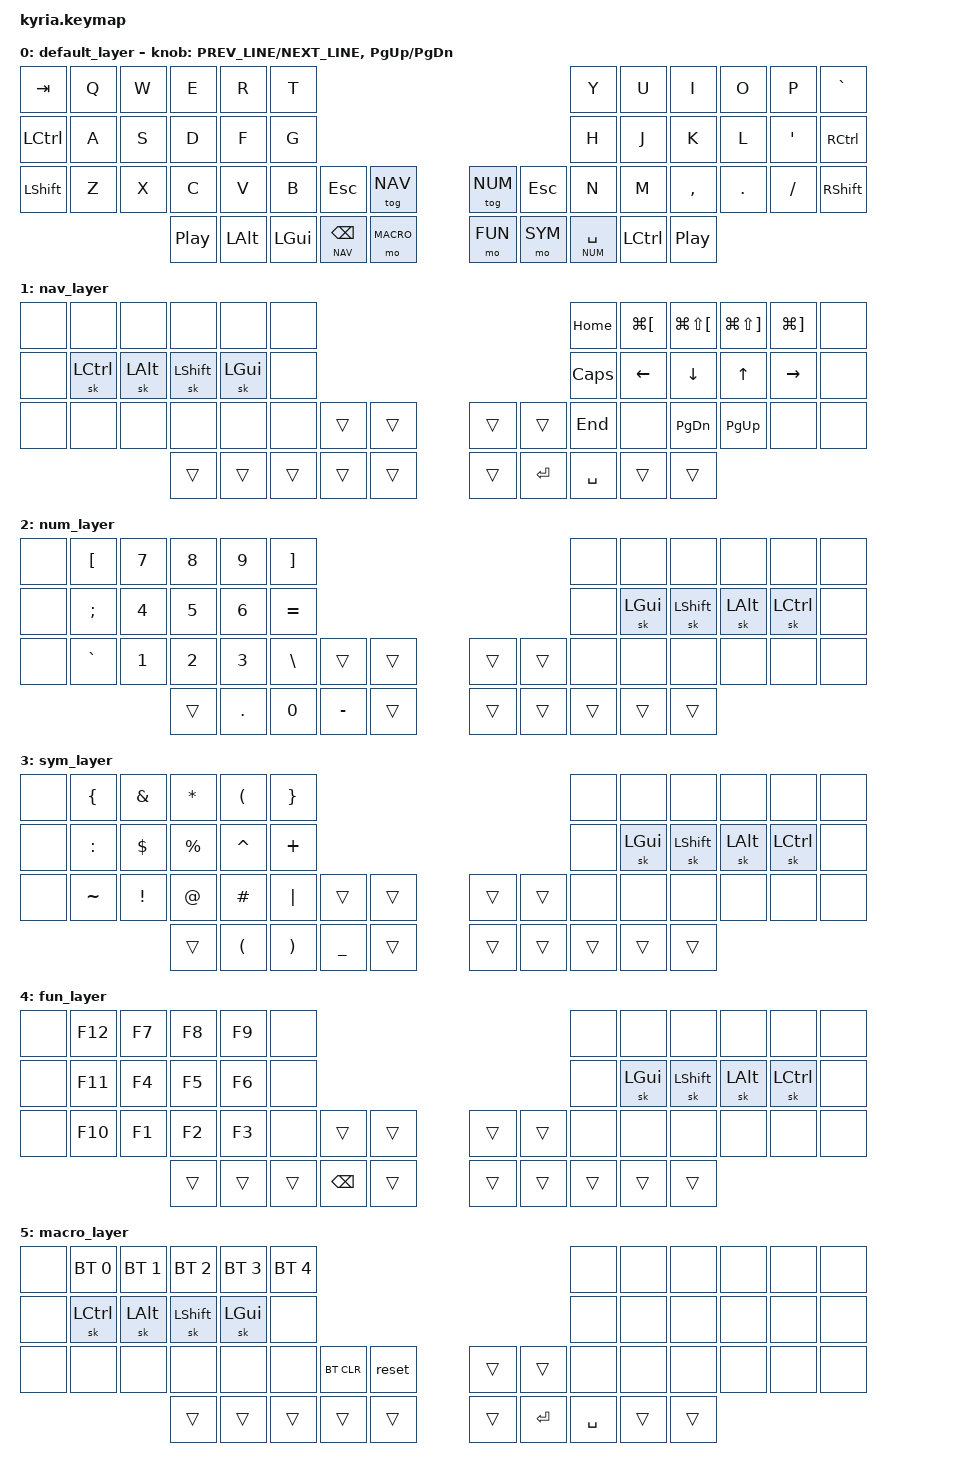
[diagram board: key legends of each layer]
/*
 * Copyright (c) 2020 The ZMK Contributors
 *
 * SPDX-License-Identifier: MIT
 */

#include <behaviors.dtsi>
#include <dt-bindings/zmk/bt.h>
#include <dt-bindings/zmk/keys.h>

#define BASE  0
#define NAV   1
#define NUM   2
#define SYM   3
#define FUN   4
#define MACRO 5

#define BACK      LG(LBKT)
#define FORWARD   LG(RBKT)
#define TAB_LEFT  LG(LS(LBKT))
#define TAB_RIGHT LG(LS(RBKT))
#define NEXT_LINE LC(N)
#define PREV_LINE LC(P)

&left_encoder {
    resolution = <2>;
};

&right_encoder {
    resolution = <2>;
};

&kscan0 {
    debounce-period = <20>;
};

&sk {
    release-after-ms = <2000>;
};


/*                            KEY POSITIONS

  ╭─────────────-────────-─╮                 ╭────────────────────────╮
  │  0   1   2   3   4   5 │                 │  6   7   8   9  10  11 │
  │ 12  13  14  15  16  17 ╰───────╮ ╭───────╯ 18  19  20  21  22  23 │
  │ 24  25  26  27  28  29  30  31 │ │ 32  33  34  35  36  37  38  39 │
  ╰───────────╮ 40  41  42  43  44 │ │ 45  46  47  48  49 ╭───────────╯
              ╰────────────────────╯ ╰────────────────────╯            */

/ {
    combos {
        compatible = "zmk,combos";

        combo_enter {
            timeout-ms = <50>;
            key-positions = <33 46>;
            bindings = <&kp ENTER>;
        };

        combo_backward_kill_word {
            timeout-ms = <50>;
            key-positions = <30 43>;
            bindings = <&kp LA(BSPC)>;
        };

    };

};

/ {

    behaviors {
        skq: sticky_key_quick_release {
            compatible = "zmk,behavior-sticky-key";
            label = "STICKY_KEY_QUICK_RELEASE";
            #binding-cells = <1>;
            bindings = <&kp>;
            release-after-ms = <1500>;
            quick-release;
        };
    };

};

/ {
	keymap {
		compatible = "zmk,keymap";

		default_layer {

                        bindings = <
	&kp TAB    &kp Q  &kp W  &kp E     &kp R     &kp T                                                                           &kp Y          &kp U      &kp I      &kp O    &kp P     &kp GRAVE
	&kp LCTRL  &kp A  &kp S	 &kp D	   &kp F     &kp G                                                                           &kp H          &kp J      &kp K      &kp L    &kp APOS  &kp RCTRL
	&kp LSHFT  &kp Z  &kp X	 &kp C	   &kp V     &kp B     &kp ESC       &tog NAV                             &tog NUM  &kp ESC  &kp N          &kp M      &kp COMMA  &kp DOT  &kp FSLH  &kp RSHFT
				 &kp C_PP  &kp LALT  &kp LGUI  &lt NAV BSPC  &mo MACRO                            &mo FUN   &mo SYM  &lt NUM SPACE  &kp LCTRL  &kp C_PP
			>;

                        sensor-bindings = <&inc_dec_kp PREV_LINE NEXT_LINE &inc_dec_kp PG_UP PG_DN>;
		};

		nav_layer {
                        bindings = <
	&none  &none      &none     &none      &none     &none                                                                       &kp HOME   &kp BACK  &kp TAB_LEFT  &kp TAB_RIGHT  &kp FORWARD  &none
	&none  &sk LCTRL  &sk LALT  &sk LSHFT  &sk LGUI  &none                                                                       &kp CAPS   &kp LEFT  &kp DOWN      &kp UP         &kp RIGHT    &none
	&none  &none      &none     &none      &none     &none   &trans  &trans                                   &trans  &trans     &kp END    &none     &kp PG_DN     &kp PG_UP      &none        &none
	                            &trans     &trans    &trans  &trans  &trans                                   &trans  &kp ENTER  &kp SPACE  &trans    &trans
			>;
		};

		num_layer {
                        bindings = <
	&none  &kp LBKT   &kp N7  &kp N8  &kp N9   &kp RBKT                                                                       &none   &none     &none      &none     &none      &none
	&none  &kp SEMI   &kp N4  &kp N5  &kp N6   &kp EQUAL                                                                      &none   &sk LGUI  &sk LSHFT  &sk LALT  &sk LCTRL  &none
	&none  &kp GRAVE  &kp N1  &kp N2  &kp N3   &kp BACKSLASH  &trans     &trans                               &trans  &trans  &none   &none     &none      &none     &none      &none
	                          &trans  &kp DOT  &kp N0         &kp MINUS  &trans                               &trans  &trans  &trans  &trans    &trans
			>;
		};

		sym_layer {
                        bindings = <
	&none  &kp LBRC   &kp AMPS  &kp ASTRK  &kp LPAR   &kp RBRC                                                		  &none	  &none	    &none      &none	 &none	    &none
	&none  &kp COLON  &kp DLLR  &kp PRCNT  &kp CARET  &kp PLUS								  &none	  &sk LGUI  &sk LSHFT  &sk LALT	 &sk LCTRL  &none
	&none  &kp TILDE  &kp EXCL  &kp AT     &kp POUND  &kp PIPE  &trans     &trans				  &trans  &trans  &none	  &none	    &none      &none	 &none	    &none
				    &trans     &kp LPAR	  &kp RPAR  &kp UNDER  &trans				  &trans  &trans  &trans  &trans    &trans
			>;
		};

		fun_layer {
                        bindings = <
	&none  &kp F12  &kp F7  &kp F8  &kp F9  &none                                                                             &none   &none     &none      &none     &none      &none
	&none  &kp F11  &kp F4  &kp F5  &kp F6  &none                                                                             &none   &sk LGUI  &sk LSHFT  &sk LALT  &sk LCTRL  &none
	&none  &kp F10  &kp F1  &kp F2  &kp F3  &none   &trans    &trans                                          &trans  &trans  &none   &none     &none      &none     &none      &none
	                        &trans  &trans  &trans  &kp BSPC  &trans                                          &trans  &trans  &trans  &trans    &trans
			>;
		};

		macro_layer {
                        bindings = <
	&none  &bt BT_SEL 0  &bt BT_SEL 1  &bt BT_SEL 2  &bt BT_SEL 3  &bt BT_SEL 4                                                  &none      &none   &none   &none  &none  &none
	&none  &sk LCTRL     &sk LALT      &sk LSHFT     &sk LGUI      &none                                                         &none      &none   &none   &none  &none  &none
	&none  &none         &none         &none         &none         &none         &bt BT_CLR  &reset           &trans  &trans     &none      &none   &none   &none  &none  &none
	                                   &trans        &trans        &trans        &trans      &trans           &trans  &kp ENTER  &kp SPACE  &trans  &trans
			>;
		};

	};
};
